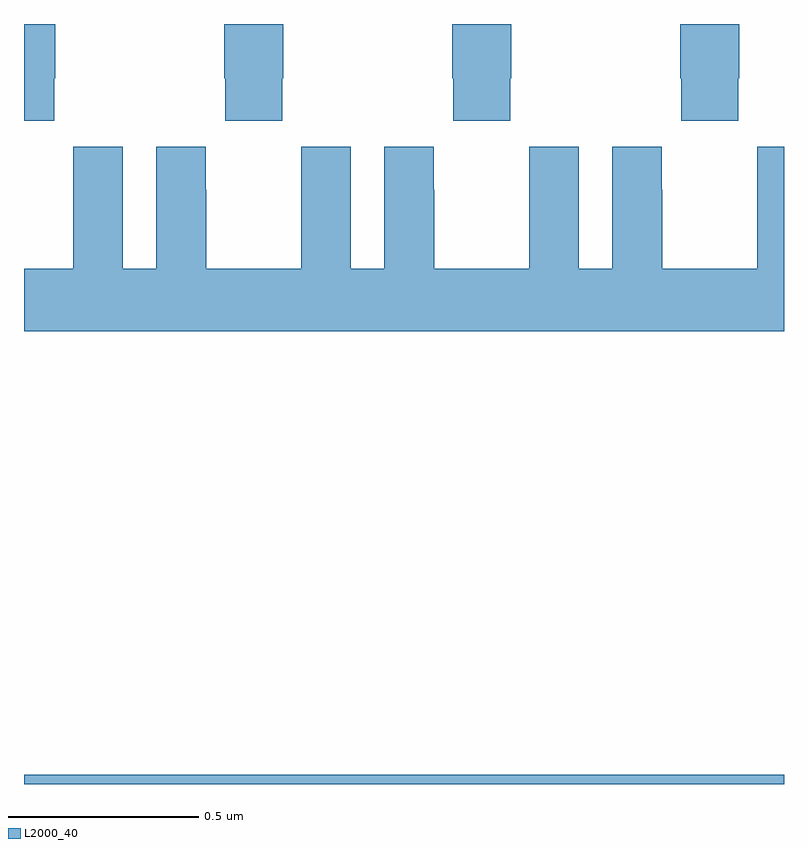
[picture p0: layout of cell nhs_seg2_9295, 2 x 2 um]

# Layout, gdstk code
import gdstk
lib = gdstk.Library(unit=1e-6, precision=1e-09)
def R(c, l, rs):  # rectangles x0, y0, x1, y1
    for r in rs: c.add(gdstk.rectangle(r[:2], r[2:], *l))
def P(c, l, *ps):  # polygons
    for p in ps: c.add(gdstk.Polygon(p, *l))
L2000_40 = (2000, 40)

nhs_seg2_9295 = lib.new_cell('nhs_seg2_9295')
R(nhs_seg2_9295, L2000_40, [(227,623.8,229,623.824)])
P(nhs_seg2_9295, L2000_40, [(228.727,625.657),(228.729,625.657),(228.729,625.545),(228.879,625.545),(228.879,625.657),(228.882,625.657),(228.882,625.8),(228.727,625.8)],
  [(227.079,625.657),(227.082,625.657),(227.082,625.8),(227,625.8),(227,625.545),(227.079,625.545)],
  [(227.679,625.657),(227.682,625.657),(227.682,625.8),(227.527,625.8),(227.527,625.657),(227.529,625.657),(227.529,625.545),(227.679,625.545)],
  [(228.279,625.657),(228.282,625.657),(228.282,625.8),(228.127,625.8),(228.127,625.657),(228.129,625.657),(228.129,625.545),(228.279,625.545)],
  [(229,625.477),(228.93,625.477),(228.93,625.364),(228.929,625.364),(228.929,625.156),(228.679,625.156),(228.679,625.364),(228.678,625.364),(228.678,625.477),(228.548,625.477),(228.548,625.156),(228.46,625.156),(228.46,625.477),(228.33,625.477),(228.33,625.364),(228.329,625.364),(228.329,625.156),(228.079,625.156),(228.079,625.364),(228.078,625.364),(228.078,625.477),(227.948,625.477),(227.948,625.156),(227.86,625.156),(227.86,625.477),(227.73,625.477),(227.73,625.364),(227.729,625.364),(227.729,625.156),(227.479,625.156),(227.479,625.364),(227.478,625.364),(227.478,625.477),(227.348,625.477),(227.348,625.156),(227.26,625.156),(227.26,625.477),(227.13,625.477),(227.13,625.364),(227.129,625.364),(227.129,625.156),(227,625.156),(227,624.992),(229,624.992)])

lib.write_gds('nhs_seg2_9295.gds')
